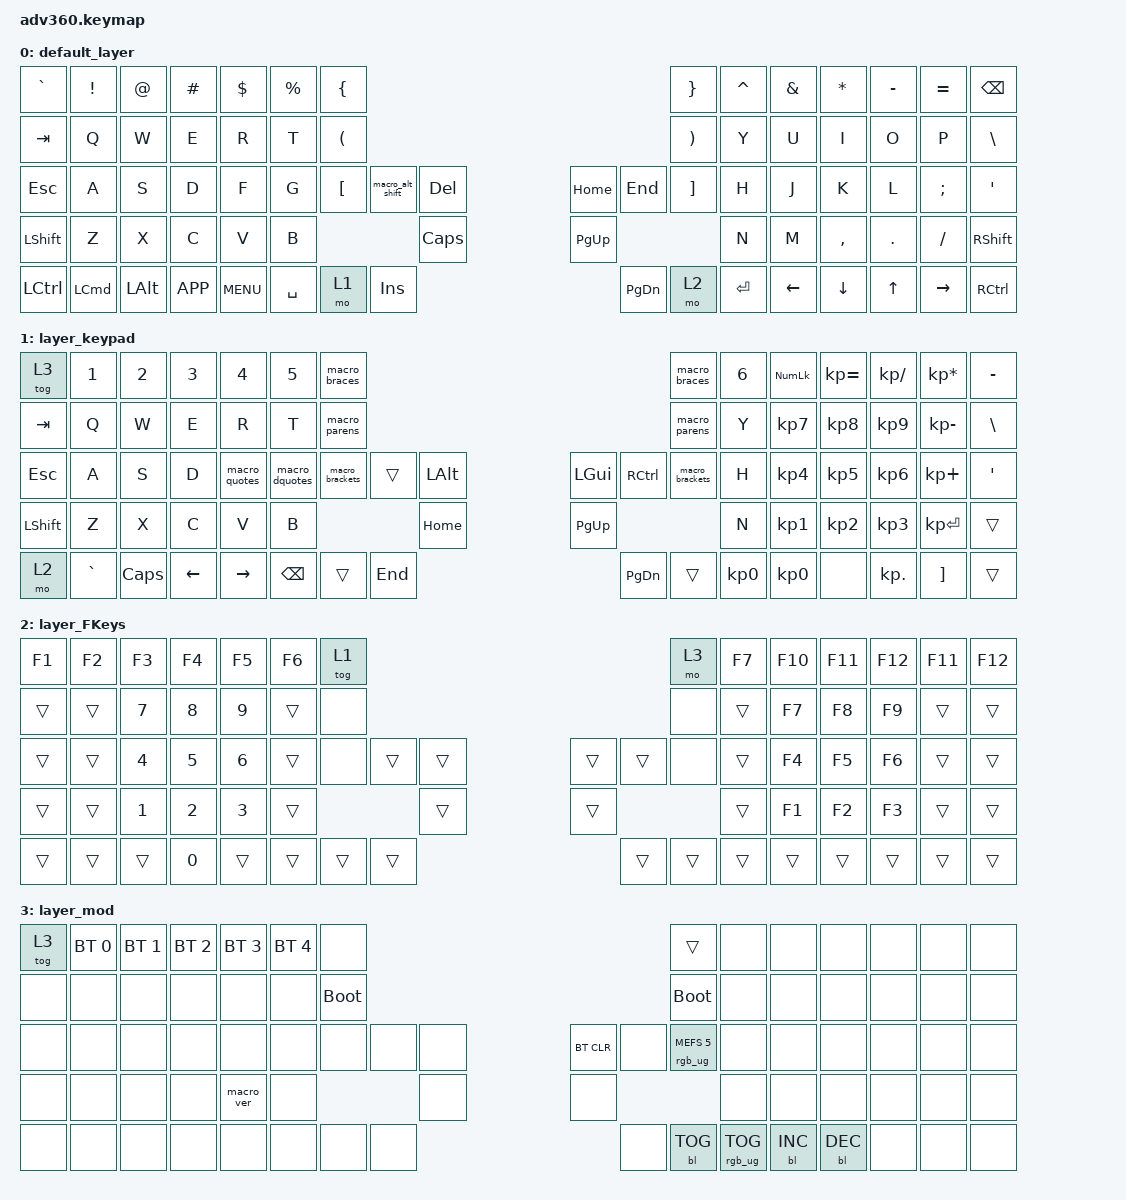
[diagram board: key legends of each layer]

/*
 * Copyright (c) 2020 The ZMK Contributors
 *
 * SPDX-License-Identifier: MIT
 */


/* THIS FILE WAS GENERATED!
 *
 * This file was generated automatically. You may or may not want to
 * edit it directly.
 */

#include <behaviors.dtsi>
#include <dt-bindings/zmk/keys.h>
#include <dt-bindings/zmk/bt.h>
#include <dt-bindings/zmk/rgb.h>
#include <dt-bindings/zmk/backlight.h>

/ {
  behaviors {
    #include "macros.dtsi"
    #include "version.dtsi"

    hm: homerow_mods {
        compatible = "zmk,behavior-hold-tap";
        label = "HOMEROW_MODS";
        #binding-cells = <2>;
        tapping-term-ms = <200>;
        quick_tap_ms = <175>;
        flavor = "tap-preferred";
        bindings = <&kp>, <&kp>;
    };
  };

    keymap {
        compatible = "zmk,keymap";


        default_layer {
            bindings = <
 &kp GRAVE          &kp EXCL        &kp AT   &kp HASH    &kp DLLR  &kp PRCNT                  &kp LEFT_BRACE                                                                          &kp RIGHT_BRACE  &kp CARET  &kp AMPS   &kp STAR  &kp MINUS  &kp EQUAL   &kp BSPC
   &kp TAB             &kp Q         &kp W      &kp E       &kp R      &kp T            &kp LEFT_PARENTHESIS                                                                    &kp RIGHT_PARENTHESIS      &kp Y     &kp U      &kp I      &kp O      &kp P   &kp BSLH
   &kp ESC             &kp A         &kp S      &kp D       &kp F      &kp G                &kp LEFT_BRACKET  &macro_alt_shift     &kp DEL                   &kp HOME  &kp END      &kp RIGHT_BRACKET      &kp H     &kp J      &kp K      &kp L   &kp SEMI    &kp SQT
 &kp LSHFT             &kp Z         &kp X      &kp C       &kp V      &kp B                                                      &kp CAPS                  &kp PG_UP                                      &kp N     &kp M  &kp COMMA    &kp DOT   &kp FSLH  &kp RSHFT
 &kp LCTRL  &kp LEFT_COMMAND  &kp LEFT_ALT  &kp K_APP  &kp K_MENU                                  &kp SPACE             &mo 1  &kp INSERT                  &kp PG_DN    &mo 2              &kp ENTER             &kp LEFT   &kp DOWN     &kp UP  &kp RIGHT  &kp RCTRL
            >;
        };

        layer_keypad {
            bindings = <
    &tog 3     &kp N1    &kp N2    &kp N3         &kp N4          &kp N5              &macro_braces                                                            &macro_braces  &kp N6  &kp KP_NUM  &kp KP_EQUAL  &kp KP_DIVIDE  &kp KP_MULTIPLY  &kp MINUS
   &kp TAB      &kp Q     &kp W     &kp E          &kp R           &kp T              &macro_parens                                                            &macro_parens   &kp Y   &kp KP_N7     &kp KP_N8      &kp KP_N9     &kp KP_MINUS   &kp BSLH
   &kp ESC      &kp A     &kp S     &kp D  &macro_quotes  &macro_dquotes            &macro_brackets  &trans  &kp LALT                   &kp LGUI  &kp RCTRL  &macro_brackets   &kp H   &kp KP_N4     &kp KP_N5      &kp KP_N6      &kp KP_PLUS    &kp SQT
 &kp LSHFT      &kp Z     &kp X     &kp C          &kp V           &kp B                                     &kp HOME                  &kp PG_UP                               &kp N   &kp KP_N1     &kp KP_N2      &kp KP_N3     &kp KP_ENTER     &trans
     &mo 2  &kp GRAVE  &kp CAPS  &kp LEFT      &kp RIGHT                                   &kp BSPC  &trans   &kp END                  &kp PG_DN     &trans        &kp KP_N0           &kp KP_N0         &none     &kp KP_DOT         &kp RBKT     &trans
            >;
        };

        layer_FKeys {
            bindings = <
 &kp F1  &kp F2        &kp F3        &kp F4        &kp F5  &kp F6            &tog 1                                                   &mo 3  &kp F7  &kp F10  &kp F11  &kp F12  &kp F11  &kp F12
 &trans  &trans  &kp NUMBER_7  &kp NUMBER_8  &kp NUMBER_9  &trans             &none                                                   &none  &trans   &kp F7   &kp F8   &kp F9   &trans   &trans
 &trans  &trans  &kp NUMBER_4  &kp NUMBER_5  &kp NUMBER_6  &trans             &none  &trans  &trans                  &trans  &trans   &none  &trans   &kp F4   &kp F5   &kp F6   &trans   &trans
 &trans  &trans  &kp NUMBER_1  &kp NUMBER_2  &kp NUMBER_3  &trans                            &trans                  &trans                  &trans   &kp F1   &kp F2   &kp F3   &trans   &trans
 &trans  &trans        &trans  &kp NUMBER_0        &trans                    &trans  &trans  &trans                  &trans  &trans  &trans           &trans   &trans   &trans   &trans   &trans
            >;
        };

        layer_mod {
            bindings = <
 &tog 3  &bt BT_SEL 0  &bt BT_SEL 1  &bt BT_SEL 2  &bt BT_SEL 3  &bt BT_SEL 4                  &none                                                                          &trans   &none       &none       &none   &none   &none   &none
  &none         &none         &none         &none         &none         &none            &bootloader                                                                     &bootloader   &none       &none       &none   &none   &none   &none
  &none         &none         &none         &none         &none         &none                  &none   &none   &none                  &bt BT_CLR       &none  &rgb_ug RGB_MEFS_CMD 5   &none       &none       &none   &none   &none   &none
  &none         &none         &none         &none    &macro_ver         &none                                  &none                       &none                                       &none       &none       &none   &none   &none   &none
  &none         &none         &none         &none         &none                                &none   &none   &none                       &none  &bl BL_TOG         &rgb_ug RGB_TOG          &bl BL_INC  &bl BL_DEC   &none   &none   &none
            >;
        };

    };
};
